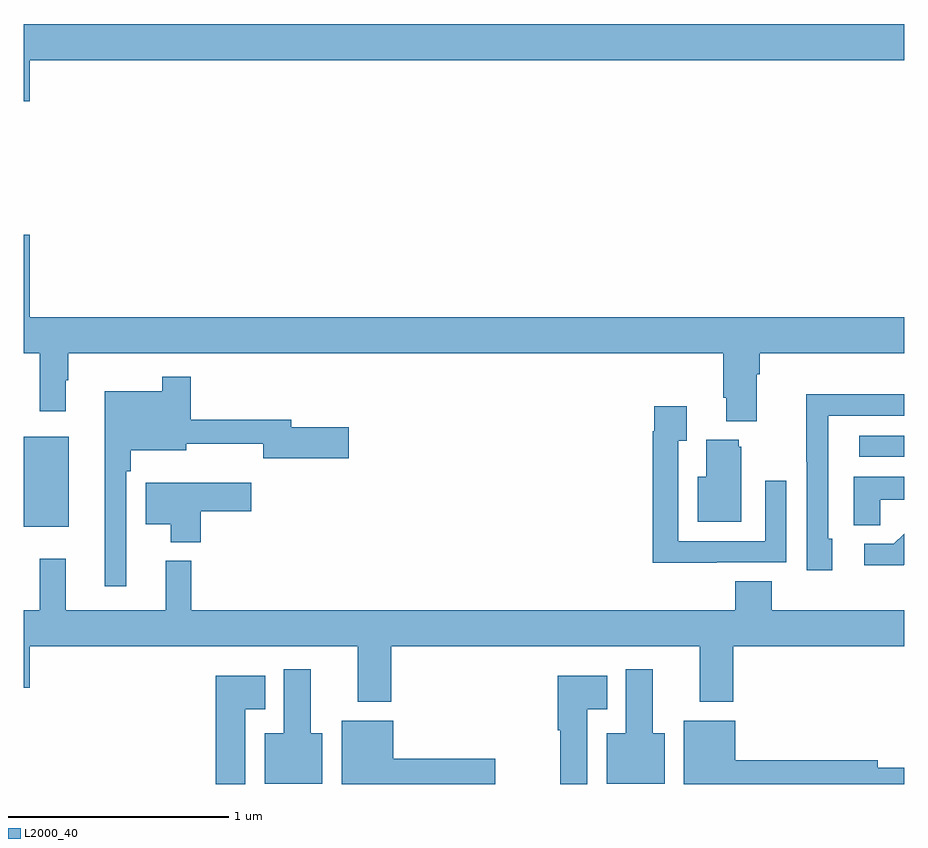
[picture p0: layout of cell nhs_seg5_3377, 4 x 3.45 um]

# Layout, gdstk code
import gdstk
lib = gdstk.Library(unit=1e-6, precision=1e-09)
def R(c, l, rs):  # rectangles x0, y0, x1, y1
    for r in rs: c.add(gdstk.rectangle(r[:2], r[2:], *l))
def P(c, l, *ps):  # polygons
    for p in ps: c.add(gdstk.Polygon(p, *l))
L2000_40 = (2000, 40)

nhs_seg5_3377 = lib.new_cell('nhs_seg5_3377')
R(nhs_seg5_3377, L2000_40, [(309,859.967,309.205,860.377), (312.795,860.286,313,860.382)])
P(nhs_seg5_3377, L2000_40, [(309.028,862.088),(313,862.088),(313,862.252),(309,862.252),(309,861.9),(309.028,861.9)],
  [(312.331,860.66),(312.344,860.66),(312.344,860.756),(313,860.756),(313,860.92),(309.028,860.92),(309.028,861.295),(309,861.295),(309,860.756),(309.073,860.756),(309.073,860.493),(309.19,860.493),(309.19,860.633),(309.202,860.633),(309.202,860.756),(312.179,860.756),(312.179,860.554),(312.191,860.554),(312.191,860.447),(312.331,860.447)],
  [(309.465,860.219),(309.485,860.219),(309.485,860.315),(309.739,860.315),(309.739,860.345),(310.088,860.345),(310.088,860.279),(310.477,860.279),(310.477,860.421),(310.216,860.421),(310.216,860.455),(309.758,860.455),(309.758,860.65),(309.63,860.65),(309.63,860.584),(309.368,860.584),(309.368,859.698),(309.465,859.698)],
  [(312.673,859.914),(312.654,859.914),(312.654,860.472),(313,860.472),(313,860.57),(312.556,860.57),(312.556,860.263),(312.558,860.263),(312.558,859.77),(312.673,859.77)],
  [(312.149,859.806),(312.465,859.806),(312.465,860.176),(312.369,860.176),(312.369,859.902),(311.973,859.902),(311.973,860.359),(312.013,860.359),(312.013,860.515),(311.865,860.515),(311.865,860.402),(311.857,860.402),(311.857,859.805),(312.149,859.805)],
  [(312.259,860.331),(312.248,860.331),(312.248,860.362),(312.101,860.362),(312.101,860.194),(312.062,860.194),(312.062,859.991),(312.259,859.991)],
  [(312.891,860.09),(313,860.09),(313,860.194),(312.77,860.194),(312.77,859.975),(312.891,859.975)],
  [(309.803,860.038),(310.033,860.038),(310.033,860.167),(309.554,860.167),(309.554,859.979),(309.668,859.979),(309.668,859.898),(309.803,859.898)],
  [(313,859.796),(313,859.937),(312.953,859.89),(312.819,859.89),(312.819,859.793),(312.997,859.793)],
  [(310.67,859.424),(312.071,859.424),(312.071,859.172),(312.224,859.172),(312.224,859.424),(313,859.424),(313,859.588),(312.398,859.588),(312.398,859.721),(312.233,859.721),(312.233,859.588),(309.761,859.588),(309.761,859.813),(309.644,859.813),(309.644,859.588),(309.191,859.588),(309.191,859.822),(309.073,859.822),(309.073,859.588),(309,859.588),(309,859.236),(309.028,859.236),(309.028,859.424),(310.517,859.424),(310.517,859.172),(310.67,859.172)],
  [(310.357,859.03),(310.303,859.03),(310.303,859.321),(310.181,859.321),(310.181,859.03),(310.094,859.03),(310.094,858.8),(310.357,858.8)],
  [(311.911,859.03),(311.857,859.03),(311.857,859.321),(311.735,859.321),(311.735,859.03),(311.648,859.03),(311.648,858.8),(311.911,858.8)],
  [(310.006,859.139),(310.096,859.139),(310.096,859.291),(309.872,859.291),(309.872,858.799),(310.006,858.799)],
  [(311.56,859.139),(311.65,859.139),(311.65,859.291),(311.426,859.291),(311.426,859.043),(311.438,859.043),(311.438,858.799),(311.56,858.799)],
  [(313,858.872),(312.88,858.872),(312.88,858.908),(312.232,858.908),(312.232,859.087),(311.999,859.087),(311.999,858.799),(313,858.799)],
  [(311.143,858.914),(310.678,858.914),(310.678,859.087),(310.445,859.087),(310.445,858.799),(311.143,858.799)])

lib.write_gds('nhs_seg5_3377.gds')
